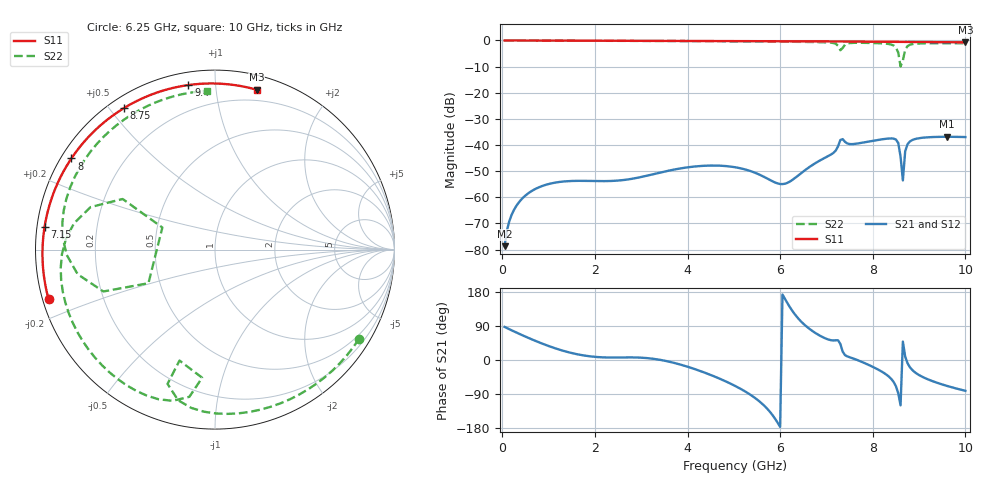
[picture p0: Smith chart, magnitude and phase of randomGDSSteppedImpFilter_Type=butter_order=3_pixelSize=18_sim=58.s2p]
! freq	dB(S11)	phase(S11)	dB(S12)	phase(S12)
!  dB(S21)	phase(S21)	dB(S22)	phase(S22)
!S-par simulation data
#  GHz  S  DB  R 50
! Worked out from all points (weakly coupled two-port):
!   200 points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, 50 MHz to 10 GHz, reference 50 ohm
!   highest |S21| = -36.85 dB at 9.6 GHz (marker M1); lowest = -78.7 dB at 50 MHz (marker M2)
!   lowest |S11| = -0.7 dB at 10 GHz (marker M3), VSWR 24.15, Z = 5.53 + j64.5 ohm
!   |S11| at or under -10 dB: nowhere
!   |S22| runs from -10.0 to 0.0 dB; largest |S21 - S12| = 0
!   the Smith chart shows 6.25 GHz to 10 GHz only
!   S11 on the Smith chart (normalised r, x): 6.25 GHz: 0.02, -0.15; 7.15 GHz: 0.02, +0.07; 8 GHz: 0.03, +0.29; 8.75 GHz: 0.04, +0.54; 9.4 GHz: 0.06, +0.85; 10 GHz: 0.11, +1.29
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0.05  -0.00 -1.5  -78.70 87.3  -78.70 87.3  -0.00 -4.4
0.2  -0.01 -5.8  -66.77 78.4  -66.77 78.4  -0.02 -17.5
0.5  -0.02 -14.3  -59.32 61.7  -59.32 61.7  -0.06 -43.0
1.05  -0.04 -29.9  -54.70 34.7  -54.70 34.7  -0.10 -85.7
1.75  -0.06 -49.3  -53.71 12.2  -53.71 12.2  -0.13 -131.5
2.55  -0.09 -70.7  -53.52 6.6  -53.52 6.6  -0.16 -175.6
3.4  -0.12 -92.6  -50.58 0.6  -50.58 0.6  -0.19 141.1
4.3  -0.16 -115.0  -48.00 -30.2  -48.00 -30.2  -0.25 93.2
5.05  -0.20 -133.5  -48.57 -69.8  -48.57 -69.8  -0.32 48.7
5.65  -0.24 -148.3  -52.16 -119.8  -52.16 -119.8  -0.40 9.5
6.25  -0.29 -163.5  -53.53 132.0  -53.53 132.0  -0.50 -31.7
6.7  -0.33 -175.2  -47.61 76.2  -47.61 76.2  -0.61 -63.5
7.15  -0.37 172.5  -43.02 51.5  -43.02 51.5  -0.99 -98.5
8  -0.47 147.6  -38.38 -18.1  -38.38 -18.1  -0.97 -149.1
8.35  -0.51 136.4  -37.51 -44.0  -37.51 -44.0  -1.38 -178.3
8.55  -0.54 129.8  -39.21 -87.5  -39.21 -87.5  -4.63 151.3
8.65  -0.55 126.4  -53.53 48.6  -53.53 48.6  -7.63 -153.2
8.7  -0.56 124.7  -42.36 8.8  -42.36 8.8  -3.55 -159.4
8.75  -0.56 122.9  -39.74 -8.3  -39.74 -8.3  -2.19 -169.8
9.4  -0.64 99.2  -36.89 -60.6  -36.89 -60.6  -1.08 131.5
9.6  -0.67 91.4  -36.85 -68.3  -36.85 -68.3  -1.07 118.3
10  -0.72 75.3  -36.96 -81.3  -36.96 -81.3  -1.05 92.9
